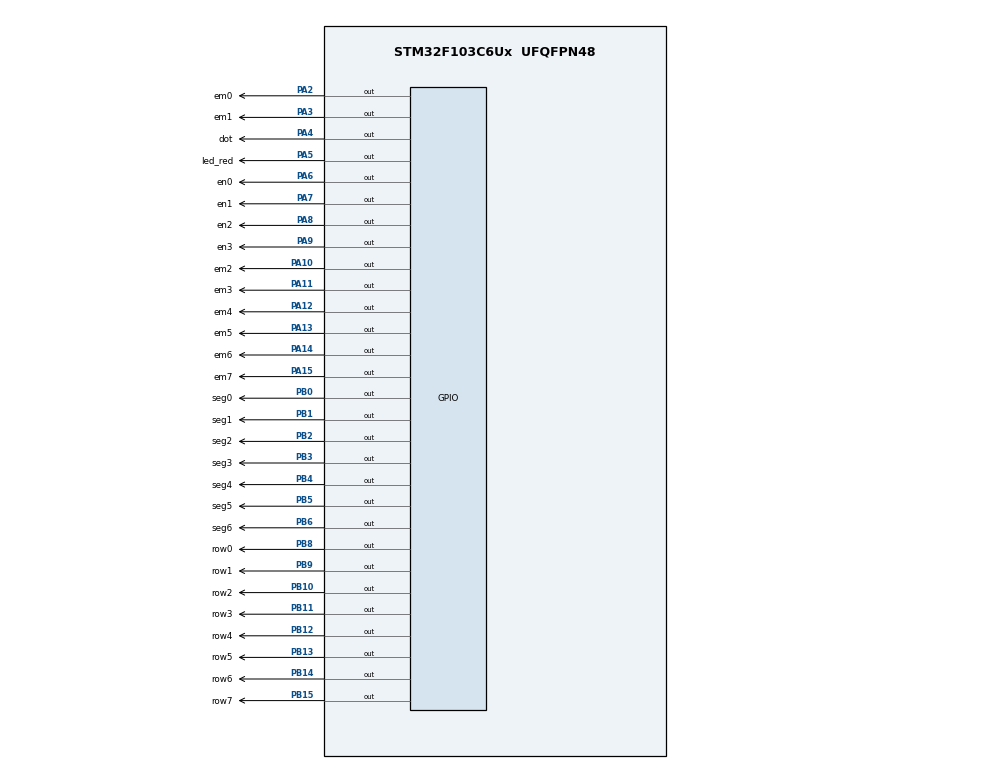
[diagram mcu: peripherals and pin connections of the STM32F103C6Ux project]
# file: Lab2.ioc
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Mcu.Family=STM32F1
Mcu.Name=STM32F103C6Ux
Mcu.Package=UFQFPN48
NVIC.PriorityGroup=NVIC_PRIORITYGROUP_4
NVIC.TIM2_IRQn=true\:0\:0\:false\:false\:true\:true\:true
PA10.GPIO_Label=em2
PA10.Signal=GPIO_Output
PA11.GPIO_Label=em3
PA11.Signal=GPIO_Output
PA12.GPIO_Label=em4
PA12.Signal=GPIO_Output
PA13.GPIO_Label=em5
PA13.Signal=GPIO_Output
PA14.GPIO_Label=em6
PA14.Signal=GPIO_Output
PA15.GPIO_Label=em7
PA15.Signal=GPIO_Output
PA2.GPIO_Label=em0
PA2.Signal=GPIO_Output
PA3.GPIO_Label=em1
PA3.Signal=GPIO_Output
PA4.GPIO_Label=dot
PA4.Signal=GPIO_Output
PA5.GPIO_Label=led_red
PA5.Signal=GPIO_Output
PA6.GPIO_Label=en0
PA6.Signal=GPIO_Output
PA7.GPIO_Label=en1
PA7.Signal=GPIO_Output
PA8.GPIO_Label=en2
PA8.Signal=GPIO_Output
PA9.GPIO_Label=en3
PA9.Signal=GPIO_Output
PB0.GPIO_Label=seg0
PB0.Signal=GPIO_Output
PB1.GPIO_Label=seg1
PB1.Signal=GPIO_Output
PB10.GPIO_Label=row2
PB10.Signal=GPIO_Output
PB11.GPIO_Label=row3
PB11.Signal=GPIO_Output
PB12.GPIO_Label=row4
PB12.Signal=GPIO_Output
PB13.GPIO_Label=row5
PB13.Signal=GPIO_Output
PB14.GPIO_Label=row6
PB14.Signal=GPIO_Output
PB15.GPIO_Label=row7
PB15.Signal=GPIO_Output
PB2.GPIO_Label=seg2
PB2.Signal=GPIO_Output
PB3.GPIO_Label=seg3
PB3.Signal=GPIO_Output
PB4.GPIO_Label=seg4
PB4.Signal=GPIO_Output
PB5.GPIO_Label=seg5
PB5.Signal=GPIO_Output
PB6.GPIO_Label=seg6
PB6.Signal=GPIO_Output
PB8.GPIO_Label=row0
PB8.Signal=GPIO_Output
PB9.GPIO_Label=row1
PB9.Signal=GPIO_Output
ProjectManager.HeapSize=0x200
ProjectManager.StackSize=0x400
ProjectManager.TargetToolchain=STM32CubeIDE
RCC.APB1Freq_Value=8000000
RCC.APB2Freq_Value=8000000
TIM2.Period=9
TIM2.Prescaler=7999
VP_SYS_VS_ND.Mode=No_Debug
VP_TIM2_VS_ClockSourceINT.Mode=Internal
board=custom

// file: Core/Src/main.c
/* USER CODE BEGIN Header */
/**
  ******************************************************************************
  * @file           : main.c
  * @brief          : Main program body
  ******************************************************************************
  * @attention
  *
  * <h2><center>&copy; Copyright (c) 2024 STMicroelectronics.
  * All rights reserved.</center></h2>
  *
  * This software component is licensed by ST under BSD 3-Clause license,
  * the "License"; You may not use this file except in compliance with the
  * License. You may obtain a copy of the License at:
  *                        opensource.org/licenses/BSD-3-Clause
  *
  ******************************************************************************
  */
/* USER CODE END Header */
#include "main.h"

/* USER CODE BEGIN Includes */
#include "lab_exercise.h"
#include "functions.h"
#include "software_timer.h"
/* USER CODE END Includes */

TIM_HandleTypeDef htim2;

/* USER CODE BEGIN PV */
/* Lab counters: TIM2 tick = 10 ms, with 8 MHz / 8000 / 10. */
const int MAX_LED = 4;
int index_led = 0;
#if LAB_EXERCISE == 1 || LAB_EXERCISE == 2 || LAB_EXERCISE == 3
int counter_7seg = 50;  /* 500 ms per digit */
#else
int counter_7seg = 25;  /* 250 ms per digit: four-digit scan = 1 Hz */
#endif
int counter_dot = 100; /* 1000 ms, independent of the display scan */
#if LAB_EXERCISE == 5
/* Ex5 comparison test: restore the original callback counters. */
int counter = 25;
static uint8_t idx = 0;
#endif
#if LAB_EXERCISE >= 5
int hour = 15, minute = 8, second = 50;
#endif
#if LAB_EXERCISE >= 9
int index_led_matrix = 0;
#endif
#if LAB_EXERCISE == 10
int shift_count = 0;
#endif
/* USER CODE END PV */

void SystemClock_Config(void);
static void MX_GPIO_Init(void);
static void MX_TIM2_Init(void);

int main(void)
{

  /* MCU Configuration--------------------------------------------------------*/

  /* Reset of all peripherals, Initializes the Flash interface and the Systick. */
  HAL_Init();

  /* Configure the system clock */
  SystemClock_Config();

  /* Initialize all configured peripherals */
  MX_GPIO_Init();
  MX_TIM2_Init();
  /* USER CODE BEGIN 2 */
  /* D1 and DOT are active-low: start with both LED outputs OFF. */
  HAL_GPIO_WritePin(led_red_GPIO_Port, led_red_Pin, GPIO_PIN_SET);
  HAL_GPIO_WritePin(dot_GPIO_Port, dot_Pin, GPIO_PIN_SET);
  clearEnableVsLED();

#if LAB_EXERCISE == 1
  led_buffer[0] = 1;
  led_buffer[1] = 2;
#elif LAB_EXERCISE == 2
  led_buffer[0] = 1;
  led_buffer[1] = 2;
  led_buffer[2] = 3;
  led_buffer[3] = 0;
#elif LAB_EXERCISE >= 5
  updateClockBuffer(led_buffer, hour, minute, second);
#endif
#if LAB_EXERCISE == 5
  /* Original Ex5 startup: first digit is displayed by TIM2 after 250 ms. */
  index_led = 0;
#else
  update7SEG(0);
  index_led = 1;
#endif

#if LAB_EXERCISE >= 6
  setTimer0(1000);
#endif
#if LAB_EXERCISE >= 8
  setTimer1(250);
#endif
#if LAB_EXERCISE >= 9
  setTimer2(10);  /* One column per tick: 8 * 10 ms = 80 ms per frame. */
#endif
#if LAB_EXERCISE == 10
  setTimer3(500);  /* Animation speed is independent of matrix refresh. */
#endif

  HAL_TIM_Base_Start_IT(&htim2);
  /* USER CODE END 2 */

  /* Infinite loop */
  /* USER CODE BEGIN WHILE */
  while (1)
  {
#if LAB_EXERCISE == 5
    /* Ex5: the clock skeleton from the lab uses HAL_Delay(1000). */
    second++;
    if (second >= 60) { second = 0; minute++; }
    if (minute >= 60) { minute = 0; hour++; }
    if (hour >= 24) { hour = 0; }
    updateClockBuffer(led_buffer, hour, minute, second);
    HAL_Delay(1000);
#elif LAB_EXERCISE == 6
    /* Ex6: the software-timer LED example, preserving Ex5 above. */
    if (timer0_flag == 1)
    {
      HAL_GPIO_TogglePin(led_red_GPIO_Port, led_red_Pin);
      setTimer0(2000);
    }
#elif LAB_EXERCISE >= 7
    /* Ex7: replace the clock delay with a software-timer flag. */
    if (timer0_flag == 1)
    {
      second++;
      if (second >= 60) { second = 0; minute++; }
      if (minute >= 60) { minute = 0; hour++; }
      if (hour >= 24) { hour = 0; }
      updateClockBuffer(led_buffer, hour, minute, second);
      HAL_GPIO_TogglePin(dot_GPIO_Port, dot_Pin);
      HAL_GPIO_TogglePin(led_red_GPIO_Port, led_red_Pin);
      setTimer0(1000);
    }
#endif

#if LAB_EXERCISE >= 8
    /* Ex8: move display processing from the interrupt into main. */
    if (flags[1] == 1)
    {
      update7SEG(index_led);
      index_led++;
      if (index_led >= MAX_LED) index_led = 0;
      setTimer1(250);
    }
#endif
#if LAB_EXERCISE >= 9
    /* Ex9: scan the A matrix in main, using a separate software timer. */
    if (flags[2] == 1)
    {
      updateLEDMatrix(index_led_matrix);
      index_led_matrix++;
      if (index_led_matrix >= MAX_LED_MATRIX) index_led_matrix = 0;
      setTimer2(10);
    }
#endif
#if LAB_EXERCISE == 10
    /* Ex10: move A left every 500 ms; reload the original after 8 shifts. */
    if (flags[3] == 1)
    {
      shiftLeft(matrix_buffer);
      shift_count++;
      if (shift_count >= 8)
      {
        for (int i = 0; i < 8; i++) matrix_buffer[i] = A_pattern[i];
        shift_count = 0;
      }
      setTimer3(500);
    }
#endif
    /* Ex1..4: all processing is in the interrupt; main stays empty. */
    /* USER CODE END WHILE */

  }
}

void SystemClock_Config(void)
{
  RCC_OscInitTypeDef RCC_OscInitStruct = {0};
  RCC_ClkInitTypeDef RCC_ClkInitStruct = {0};

  /** Initializes the RCC Oscillators according to the specified parameters
  * in the RCC_OscInitTypeDef structure.
  */
  RCC_OscInitStruct.OscillatorType = RCC_OSCILLATORTYPE_HSI;
  RCC_OscInitStruct.HSIState = RCC_HSI_ON;
  RCC_OscInitStruct.HSICalibrationValue = RCC_HSICALIBRATION_DEFAULT;
  RCC_OscInitStruct.PLL.PLLState = RCC_PLL_NONE;
  if (HAL_RCC_OscConfig(&RCC_OscInitStruct) != HAL_OK)
  {
    Error_Handler();
  }
  /** Initializes the CPU, AHB and APB buses clocks
  */
  RCC_ClkInitStruct.ClockType = RCC_CLOCKTYPE_HCLK|RCC_CLOCKTYPE_SYSCLK
                              |RCC_CLOCKTYPE_PCLK1|RCC_CLOCKTYPE_PCLK2;
  RCC_ClkInitStruct.SYSCLKSource = RCC_SYSCLKSOURCE_HSI;
  RCC_ClkInitStruct.AHBCLKDivider = RCC_SYSCLK_DIV1;
  RCC_ClkInitStruct.APB1CLKDivider = RCC_HCLK_DIV1;
  RCC_ClkInitStruct.APB2CLKDivider = RCC_HCLK_DIV1;

  if (HAL_RCC_ClockConfig(&RCC_ClkInitStruct, FLASH_LATENCY_0) != HAL_OK)
  {
    Error_Handler();
  }
}

static void MX_TIM2_Init(void)
{

  TIM_ClockConfigTypeDef sClockSourceConfig = {0};
  TIM_MasterConfigTypeDef sMasterConfig = {0};

  htim2.Instance = TIM2;
  htim2.Init.Prescaler = 7999;
  htim2.Init.CounterMode = TIM_COUNTERMODE_UP;
  htim2.Init.Period = 9;
  htim2.Init.ClockDivision = TIM_CLOCKDIVISION_DIV1;
  htim2.Init.AutoReloadPreload = TIM_AUTORELOAD_PRELOAD_DISABLE;
  if (HAL_TIM_Base_Init(&htim2) != HAL_OK)
  {
    Error_Handler();
  }
  sClockSourceConfig.ClockSource = TIM_CLOCKSOURCE_INTERNAL;
  if (HAL_TIM_ConfigClockSource(&htim2, &sClockSourceConfig) != HAL_OK)
  {
    Error_Handler();
  }
  sMasterConfig.MasterOutputTrigger = TIM_TRGO_RESET;
  sMasterConfig.MasterSlaveMode = TIM_MASTERSLAVEMODE_DISABLE;
  if (HAL_TIMEx_MasterConfigSynchronization(&htim2, &sMasterConfig) != HAL_OK)
  {
    Error_Handler();
  }

}

static void MX_GPIO_Init(void)
{
  GPIO_InitTypeDef GPIO_InitStruct = {0};

  /* GPIO Ports Clock Enable */
  __HAL_RCC_GPIOA_CLK_ENABLE();
  __HAL_RCC_GPIOB_CLK_ENABLE();

  /*Configure GPIO pin Output Level */
  HAL_GPIO_WritePin(GPIOA, em0_Pin|em1_Pin|dot_Pin|led_red_Pin
                          |en0_Pin|en1_Pin|en2_Pin|en3_Pin
                          |em2_Pin|em3_Pin|em4_Pin|em5_Pin
                          |em6_Pin|em7_Pin, GPIO_PIN_RESET);

  /*Configure GPIO pin Output Level */
  HAL_GPIO_WritePin(GPIOB, seg0_Pin|seg1_Pin|seg2_Pin|row2_Pin
                          |row3_Pin|row4_Pin|row5_Pin|row6_Pin
                          |row7_Pin|seg3_Pin|seg4_Pin|seg5_Pin
                          |seg6_Pin|row0_Pin|row1_Pin, GPIO_PIN_RESET);

  /*Configure GPIO pins : em0_Pin em1_Pin dot_Pin led_red_Pin
                           en0_Pin en1_Pin en2_Pin en3_Pin
                           em2_Pin em3_Pin em4_Pin em5_Pin
                           em6_Pin em7_Pin */
  GPIO_InitStruct.Pin = em0_Pin|em1_Pin|dot_Pin|led_red_Pin
                          |en0_Pin|en1_Pin|en2_Pin|en3_Pin
                          |em2_Pin|em3_Pin|em4_Pin|em5_Pin
                          |em6_Pin|em7_Pin;
  GPIO_InitStruct.Mode = GPIO_MODE_OUTPUT_PP;
  GPIO_InitStruct.Pull = GPIO_NOPULL;
  GPIO_InitStruct.Speed = GPIO_SPEED_FREQ_LOW;
  HAL_GPIO_Init(GPIOA, &GPIO_InitStruct);

  /*Configure GPIO pins : seg0_Pin seg1_Pin seg2_Pin row2_Pin
                           row3_Pin row4_Pin row5_Pin row6_Pin
                           row7_Pin seg3_Pin seg4_Pin seg5_Pin
                           seg6_Pin row0_Pin row1_Pin */
  GPIO_InitStruct.Pin = seg0_Pin|seg1_Pin|seg2_Pin|row2_Pin
                          |row3_Pin|row4_Pin|row5_Pin|row6_Pin
                          |row7_Pin|seg3_Pin|seg4_Pin|seg5_Pin
                          |seg6_Pin|row0_Pin|row1_Pin;
  GPIO_InitStruct.Mode = GPIO_MODE_OUTPUT_PP;
  GPIO_InitStruct.Pull = GPIO_NOPULL;
  GPIO_InitStruct.Speed = GPIO_SPEED_FREQ_LOW;
  HAL_GPIO_Init(GPIOB, &GPIO_InitStruct);

}

/* USER CODE BEGIN 4 */

/* Ex1..3: 50 ticks per digit. Ex4..7: 25 ticks per digit.
 * Ex2/3 full scan: 4 * 500 ms = 2 s = 0.5 Hz.
 * Ex4/5 full scan: 4 * 250 ms = 1 s = 1 Hz.
 * Ex1..4: DOT/LED have their own 100-tick (1-second) counter.
 * Ex5 comparison test: no DOT/LED toggling.
 */
void HAL_TIM_PeriodElapsedCallback(TIM_HandleTypeDef *htim)
{
  if (htim->Instance != TIM2) return;

#if LAB_EXERCISE >= 6
  timer_run();
#endif

#if LAB_EXERCISE == 5
  /* Original Ex5 callback, isolated from the other exercises. */
  counter--;
  if (counter == 0)
  {
    counter = 25;
    clearEnableVsLED();
    display7seg(idx, led_buffer[idx]);
    idx = (idx + 1) % 4;
  }
#elif LAB_EXERCISE <= 7
  counter_7seg--;
  if (counter_7seg <= 0)
  {
#if LAB_EXERCISE <= 3
    counter_7seg = 50;
#else
    counter_7seg = 25;
#endif

#if LAB_EXERCISE <= 2
    /* Ex1/2: select a digit and write its segment value directly. */
    display7seg(index_led, led_buffer[index_led]);
#else
    /* Ex3 introduces update7SEG(); Ex4..7 reuse the same function. */
    update7SEG(index_led);
#endif
    index_led++;
#if LAB_EXERCISE == 1
    if (index_led >= 2) index_led = 0;
#else
    if (index_led >= MAX_LED) index_led = 0;
#endif
  }
#endif

#if LAB_EXERCISE <= 4
  counter_dot--;
  if (counter_dot <= 0)
  {
    counter_dot = 100;
    HAL_GPIO_TogglePin(led_red_GPIO_Port, led_red_Pin);
#if LAB_EXERCISE >= 2
    HAL_GPIO_TogglePin(dot_GPIO_Port, dot_Pin);
#endif
  }
#elif LAB_EXERCISE == 6
  /* Ex6 keeps display/DOT scanning in the ISR; PA5's timer example is in main. */
  counter_dot--;
  if (counter_dot <= 0)
  {
    counter_dot = 100;
    HAL_GPIO_TogglePin(dot_GPIO_Port, dot_Pin);
  }
#endif
  /* Ex8..10: the ISR only services software timers. */
}

/* USER CODE END 4 */

void Error_Handler(void)
{
  __disable_irq();
  while (1)
  {
  }
}

/************************ (C) COPYRIGHT STMicroelectronics *****END OF FILE****/
